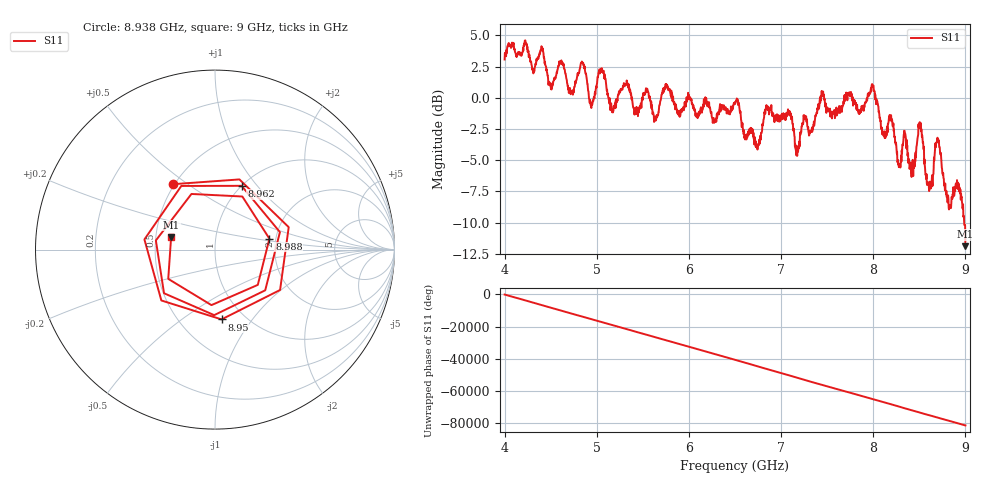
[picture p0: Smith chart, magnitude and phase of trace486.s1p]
! Created with skrf 1.8.0 (http://scikit-rf.org).
# Hz S RI R 50.0
!freq ReS11 ImS11
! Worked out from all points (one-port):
!   1601 points, 4 GHz to 9 GHz, reference 50 ohm
!   lowest |S11| = -11.9 dB at 9 GHz (marker M1), VSWR 1.68, Z = 30.1 + j4.53 ohm
!   |S11| at or under -10 dB: 8.98679 GHz to end of sweep
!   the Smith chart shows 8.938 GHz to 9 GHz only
!   S11 on the Smith chart (normalised r, x): 8.938 GHz: 0.49, +0.44; 8.95 GHz: 0.79, -0.72; 8.962 GHz: 1.00, +0.83; 8.988 GHz: 1.85, +0.25; 9 GHz: 0.60, +0.09
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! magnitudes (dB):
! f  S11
! 4 GHz  3.1
! 4.625 GHz  2.7
! 4.722 GHz  0.4
! 4.847 GHz  2.8
! 4.941 GHz  -0.8
! 5.047 GHz  2.3
! 5.162 GHz  -0.9
! 5.25 GHz  0.5
! 5.875 GHz  -1.3
! 6.5 GHz  -0.5
! 6.734 GHz  -3.9
! 6.856 GHz  -0.9
! 7.125 GHz  -2.1
! 7.175 GHz  -4.7
! 7.444 GHz  0.3
! 7.75 GHz  0.1
! 7.997 GHz  1.0
! 8.281 GHz  -5.5
! 8.375 GHz  -4.5
! 8.509 GHz  -2.0
! 8.606 GHz  -7.5
! 8.697 GHz  -3.2
! 8.822 GHz  -9.0
! 8.938 GHz  -7.3
! 8.95 GHz  -8.2
! 8.962 GHz  -8.3
! 8.988 GHz  -10.2
! 9 GHz  -11.9
